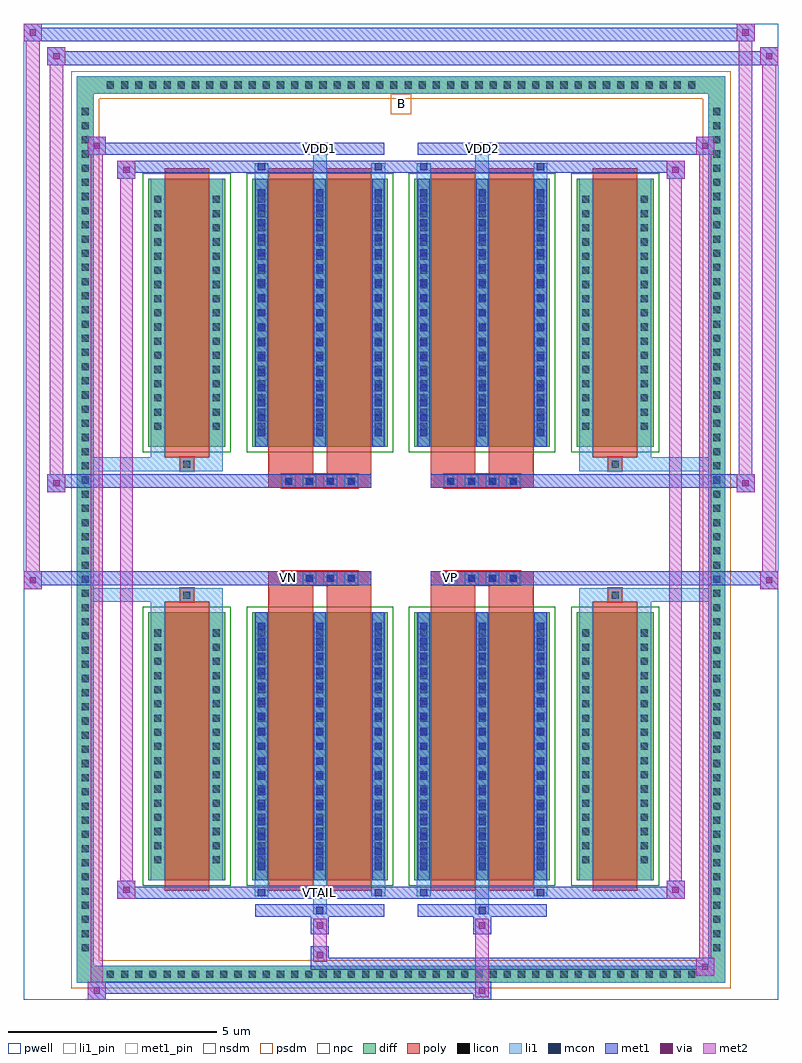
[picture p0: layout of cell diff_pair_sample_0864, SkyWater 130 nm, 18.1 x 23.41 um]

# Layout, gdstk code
import gdstk
lib = gdstk.Library(unit=1e-6, precision=5e-09)
def R(c, l, rs):  # rectangles x0, y0, x1, y1
    for r in rs: c.add(gdstk.rectangle(r[:2], r[2:], *l))
def A(c, l, x, y, w, h, nx, ny, dx, dy):  # array of equal rectangles
    R(c, l, [(x+i*dx, y+j*dy, x+i*dx+w, y+j*dy+h) for i in range(nx) for j in range(ny)])
def P(c, l, *ps):  # polygons
    for p in ps: c.add(gdstk.Polygon(p, *l))
pwell = (64, 44)
diff = (65, 20)
poly = (66, 20)
licon = (66, 44)
li1_pin = (67, 16)
li1 = (67, 20)
mcon = (67, 44)
met1_pin = (68, 16)
met1 = (68, 20)
via = (68, 44)
met2 = (69, 20)
nsdm = (93, 44)
psdm = (94, 20)
npc = (95, 20)

diff_pair_sample_0864 = lib.new_cell('diff_pair_sample_0864')
R(diff_pair_sample_0864, pwell, [(-9.05,-11.27,9.05,12.14), (-6.37,-9.46,-0.01,-0.8), (0.01,-9.46,6.37,-0.8), (-6.37,0.8,-0.01,9.46), (0.01,0.8,6.37,9.46)])
A(diff_pair_sample_0864, diff, -7.175, -10.87, 0.41, 0.41, 42, 2, 0.34, 21.33)
A(diff_pair_sample_0864, diff, -7.78, -10.235, 0.41, 0.41, 1, 60, 0, 0.34)
A(diff_pair_sample_0864, diff, 7.37, -10.235, 0.41, 0.41, 1, 60, 0, 0.34)
R(diff_pair_sample_0864, diff, [(-7.175,-10.87,7.175,-10.46), (-7.78,-10.235,-7.37,10.235), (7.37,-10.235,7.78,10.235), (-6.06,-8.415,-4.21,-1.985), (-3.57,-8.415,-0.32,-1.985), (0.32,-8.415,3.57,-1.985), (4.21,-8.415,6.06,-1.985), (-6.06,1.985,-4.21,8.415), (-3.57,1.985,-0.32,8.415), (0.32,1.985,3.57,8.415), (4.21,1.985,6.06,8.415), (-7.175,10.46,7.175,10.87)])
P(diff_pair_sample_0864, diff, [(7.78,10.87),(-7.78,10.87),(-7.78,-10.46),(-7.37,-10.46),(-7.37,10.46),(7.37,10.46),(7.37,-10.46),(-7.37,-10.46),(-7.78,-10.46),(-7.78,-10.87),(7.78,-10.87)])
A(diff_pair_sample_0864, poly, -2.86, -1.33, 0.33, 0.33, 4, 2, 0.5, 2.33)
A(diff_pair_sample_0864, poly, 1.03, -1.33, 0.33, 0.33, 4, 2, 0.5, 2.33)
R(diff_pair_sample_0864, poly, [(-5.67,-8.665,-4.6,-1.735), (-3.18,-8.665,-2.11,-1.735), (-1.78,-8.665,-0.71,-1.735), (0.71,-8.665,1.78,-1.735), (2.11,-8.665,3.18,-1.735), (4.6,-8.665,5.67,-1.735), (-5.3,-1.735,-4.97,-1.405), (-5.3,-1.735,-4.97,-1.405), (-3.18,-1.735,-2.11,-1.33), (-1.78,-1.735,-0.71,-1.33), (0.71,-1.735,1.78,-1.33), (2.11,-1.735,3.18,-1.33), (4.97,-1.735,5.3,-1.405), (4.97,-1.735,5.3,-1.405), (-3.18,-1.33,-0.71,-1), (0.71,-1.33,3.18,-1), (-3.18,1,-0.71,1.33), (0.71,1,3.18,1.33), (-3.18,1.33,-2.11,1.735), (-1.78,1.33,-0.71,1.735), (0.71,1.33,1.78,1.735), (2.11,1.33,3.18,1.735), (-5.3,1.405,-4.97,1.735), (-5.3,1.405,-4.97,1.735), (4.97,1.405,5.3,1.735), (4.97,1.405,5.3,1.735), (-5.67,1.735,-4.6,8.665), (-3.18,1.735,-2.11,8.665), (-1.78,1.735,-0.71,8.665), (0.71,1.735,1.78,8.665), (2.11,1.735,3.18,8.665), (4.6,1.735,5.67,8.665)])
A(diff_pair_sample_0864, licon, -7.055, -10.75, 0.17, 0.17, 42, 2, 0.34, 21.33)
A(diff_pair_sample_0864, licon, -7.66, -10.115, 0.17, 0.17, 1, 60, 0, 0.34)
A(diff_pair_sample_0864, licon, 7.49, -10.115, 0.17, 0.17, 1, 60, 0, 0.34)
A(diff_pair_sample_0864, licon, -5.92, -8.005, 0.17, 0.17, 1, 17, 0, 0.34)
A(diff_pair_sample_0864, licon, -4.52, -8.005, 0.17, 0.17, 1, 17, 0, 0.34)
A(diff_pair_sample_0864, licon, -3.43, -8.005, 0.17, 0.17, 3, 17, 1.4, 0.34)
A(diff_pair_sample_0864, licon, 0.46, -8.005, 0.17, 0.17, 3, 17, 1.4, 0.34)
A(diff_pair_sample_0864, licon, 4.35, -8.005, 0.17, 0.17, 1, 17, 0, 0.34)
A(diff_pair_sample_0864, licon, 5.75, -8.005, 0.17, 0.17, 1, 17, 0, 0.34)
A(diff_pair_sample_0864, licon, -2.78, -1.25, 0.17, 0.17, 4, 2, 0.5, 2.33)
A(diff_pair_sample_0864, licon, 1.11, -1.25, 0.17, 0.17, 4, 2, 0.5, 2.33)
A(diff_pair_sample_0864, licon, -5.92, 2.395, 0.17, 0.17, 1, 17, 0, 0.34)
A(diff_pair_sample_0864, licon, -4.52, 2.395, 0.17, 0.17, 1, 17, 0, 0.34)
A(diff_pair_sample_0864, licon, -3.43, 2.395, 0.17, 0.17, 3, 17, 1.4, 0.34)
A(diff_pair_sample_0864, licon, 0.46, 2.395, 0.17, 0.17, 3, 17, 1.4, 0.34)
A(diff_pair_sample_0864, licon, 4.35, 2.395, 0.17, 0.17, 1, 17, 0, 0.34)
A(diff_pair_sample_0864, licon, 5.75, 2.395, 0.17, 0.17, 1, 17, 0, 0.34)
R(diff_pair_sample_0864, licon, [(-5.22,-1.655,-5.05,-1.485), (5.05,-1.655,5.22,-1.485), (-5.22,1.485,-5.05,1.655), (5.05,1.485,5.22,1.655)])
R(diff_pair_sample_0864, li1_pin, [(-0.25,9.96,0.25,10.46)])
A(diff_pair_sample_0864, li1, -7.135, -10.83, 0.33, 0.33, 42, 2, 0.34, 21.33)
A(diff_pair_sample_0864, li1, -7.74, -10.195, 0.33, 0.33, 1, 60, 0, 0.34)
A(diff_pair_sample_0864, li1, 7.41, -10.195, 0.33, 0.33, 1, 60, 0, 0.34)
A(diff_pair_sample_0864, li1, -3.51, -8.415, 0.33, 6.43, 3, 2, 1.4, 10.4)
A(diff_pair_sample_0864, li1, 0.38, -8.415, 0.33, 6.43, 3, 2, 1.4, 10.4)
A(diff_pair_sample_0864, li1, -3.43, -8.165, 0.17, 0.17, 3, 17, 1.4, 0.36)
A(diff_pair_sample_0864, li1, -3.43, -8.165, 0.17, 5.93, 3, 2, 1.4, 10.4)
A(diff_pair_sample_0864, li1, 0.46, -8.165, 0.17, 0.17, 3, 17, 1.4, 0.36)
A(diff_pair_sample_0864, li1, 0.46, -8.165, 0.17, 5.93, 3, 2, 1.4, 10.4)
A(diff_pair_sample_0864, li1, -6, -8.085, 0.33, 0.33, 1, 17, 0, 0.34)
A(diff_pair_sample_0864, li1, -4.6, -8.085, 0.33, 0.33, 1, 17, 0, 0.34)
A(diff_pair_sample_0864, li1, -3.51, -8.085, 0.33, 0.33, 3, 17, 1.4, 0.34)
A(diff_pair_sample_0864, li1, 0.38, -8.085, 0.33, 0.33, 3, 17, 1.4, 0.34)
A(diff_pair_sample_0864, li1, 4.27, -8.085, 0.33, 0.33, 1, 17, 0, 0.34)
A(diff_pair_sample_0864, li1, 5.67, -8.085, 0.33, 0.33, 1, 17, 0, 0.34)
A(diff_pair_sample_0864, li1, -2.86, -1.33, 0.33, 0.33, 4, 2, 0.5, 2.33)
A(diff_pair_sample_0864, li1, 1.03, -1.33, 0.33, 0.33, 4, 2, 0.5, 2.33)
A(diff_pair_sample_0864, li1, -3.43, 2.235, 0.17, 0.17, 3, 17, 1.4, 0.36)
A(diff_pair_sample_0864, li1, 0.46, 2.235, 0.17, 0.17, 3, 17, 1.4, 0.36)
A(diff_pair_sample_0864, li1, -6, 2.315, 0.33, 0.33, 1, 17, 0, 0.34)
A(diff_pair_sample_0864, li1, -4.6, 2.315, 0.33, 0.33, 1, 17, 0, 0.34)
A(diff_pair_sample_0864, li1, -3.51, 2.315, 0.33, 0.33, 3, 17, 1.4, 0.34)
A(diff_pair_sample_0864, li1, 0.38, 2.315, 0.33, 0.33, 3, 17, 1.4, 0.34)
A(diff_pair_sample_0864, li1, 4.27, 2.315, 0.33, 0.33, 1, 17, 0, 0.34)
A(diff_pair_sample_0864, li1, 5.67, 2.315, 0.33, 0.33, 1, 17, 0, 0.34)
R(diff_pair_sample_0864, li1, [(-7.78,-10.87,-7.37,-10.46), (-7.78,-10.87,-7.37,-10.46), (-7.37,-10.87,7.37,-10.46), (7.37,-10.87,7.78,-10.46), (7.37,-10.87,7.78,-10.46), (-7.78,-10.46,-7.37,10.46), (7.37,-10.46,7.78,10.46), (-2.11,-9.22,-1.78,-8.415), (-2.03,-9.22,-1.86,-9.05), (1.78,-9.22,2.11,-8.415), (1.86,-9.22,2.03,-9.05), (-3.51,-8.79,-3.18,-8.415), (-3.43,-8.79,-3.26,-8.62), (-0.71,-8.79,-0.38,-8.415), (-0.63,-8.79,-0.46,-8.62), (0.38,-8.79,0.71,-8.415), (0.46,-8.79,0.63,-8.62), (3.18,-8.79,3.51,-8.415), (3.26,-8.79,3.43,-8.62), (-6,-8.415,-5.67,-1.985), (-4.6,-8.415,-4.27,-1.985), (4.27,-8.415,4.6,-1.985), (5.67,-8.415,6,-1.985), (-6,-1.985,-5.67,-1.405), (-4.6,-1.985,-4.27,-1.405), (4.27,-1.985,4.6,-1.405), (5.67,-1.985,6,-1.405), (-7.78,-1.735,-5.3,-1.405), (-6,-1.735,-5.3,-1.405), (-5.3,-1.735,-4.97,-1.405), (-4.97,-1.735,-4.27,-1.405), (4.27,-1.735,4.97,-1.405), (4.97,-1.735,5.3,-1.405), (4.97,-1.735,7.78,-1.405), (5.3,-1.735,6,-1.405), (-7.78,1.405,-5.3,1.735), (-6,1.405,-5.3,1.735), (-6,1.405,-5.67,1.985), (-5.3,1.405,-4.97,1.735), (-4.97,1.405,-4.27,1.735), (-4.6,1.405,-4.27,1.985), (4.27,1.405,4.97,1.735), (4.27,1.405,4.6,1.985), (4.97,1.405,5.3,1.735), (4.97,1.405,7.78,1.735), (5.3,1.405,6,1.735), (5.67,1.405,6,1.985), (-6,1.985,-5.67,8.415), (-4.6,1.985,-4.27,8.415), (4.27,1.985,4.6,8.415), (5.67,1.985,6,8.415), (-3.51,8.415,-3.18,8.79), (-2.11,8.415,-1.78,9.22), (-0.71,8.415,-0.38,8.79), (0.38,8.415,0.71,8.79), (1.78,8.415,2.11,9.22), (3.18,8.415,3.51,8.79), (-3.43,8.62,-3.26,8.79), (-0.63,8.62,-0.46,8.79), (0.46,8.62,0.63,8.79), (3.26,8.62,3.43,8.79), (-2.03,9.05,-1.86,9.22), (1.86,9.05,2.03,9.22), (-7.78,10.46,-7.37,10.87), (-7.78,10.46,-7.37,10.87), (-7.37,10.46,7.37,10.87), (7.37,10.46,7.78,10.87), (7.37,10.46,7.78,10.87)])
A(diff_pair_sample_0864, mcon, -3.43, -8.165, 0.17, 0.17, 3, 17, 1.4, 0.36)
A(diff_pair_sample_0864, mcon, 0.46, -8.165, 0.17, 0.17, 3, 17, 1.4, 0.36)
A(diff_pair_sample_0864, mcon, -2.78, -1.25, 0.17, 0.17, 4, 2, 0.5, 2.33)
A(diff_pair_sample_0864, mcon, 1.11, -1.25, 0.17, 0.17, 4, 2, 0.5, 2.33)
A(diff_pair_sample_0864, mcon, -3.43, 2.235, 0.17, 0.17, 3, 17, 1.4, 0.36)
A(diff_pair_sample_0864, mcon, 0.46, 2.235, 0.17, 0.17, 3, 17, 1.4, 0.36)
R(diff_pair_sample_0864, mcon, [(-2.03,-9.22,-1.86,-9.05), (1.86,-9.22,2.03,-9.05), (-3.43,-8.79,-3.26,-8.62), (-0.63,-8.79,-0.46,-8.62), (0.46,-8.79,0.63,-8.62), (3.26,-8.79,3.43,-8.62), (-3.43,8.62,-3.26,8.79), (-0.63,8.62,-0.46,8.79), (0.46,8.62,0.63,8.79), (3.26,8.62,3.43,8.79), (-2.03,9.05,-1.86,9.22), (1.86,9.05,2.03,9.22)])
R(diff_pair_sample_0864, met1_pin, [(-2.08,-8.83,-1.81,-8.56), (-2.83,-1.29,-2.56,-1.02), (1.06,-1.29,1.33,-1.02), (-2.08,9.01,-1.81,9.28), (1.81,9.01,2.08,9.28)])
A(diff_pair_sample_0864, met1, -3.49, -8.415, 0.29, 6.43, 3, 2, 1.4, 10.4)
A(diff_pair_sample_0864, met1, 0.4, -8.415, 0.29, 6.43, 3, 2, 1.4, 10.4)
A(diff_pair_sample_0864, met1, -3.49, -8.225, 0.29, 0.29, 3, 17, 1.4, 0.36)
A(diff_pair_sample_0864, met1, 0.4, -8.225, 0.29, 0.29, 3, 17, 1.4, 0.36)
A(diff_pair_sample_0864, met1, -2.84, -1.31, 0.29, 0.29, 4, 2, 0.5, 2.33)
A(diff_pair_sample_0864, met1, 1.05, -1.31, 0.29, 0.29, 4, 2, 0.5, 2.33)
A(diff_pair_sample_0864, met1, -3.49, 2.175, 0.29, 0.29, 3, 17, 1.4, 0.36)
A(diff_pair_sample_0864, met1, 0.4, 2.175, 0.29, 0.29, 3, 17, 1.4, 0.36)
R(diff_pair_sample_0864, met1, [(-7.51,-11.27,-7.08,-10.84), (1.73,-11.27,2.16,-10.84), (-7.51,-11.13,2.16,-10.84), (7.08,-10.7,7.51,-10.27), (-2.16,-10.56,7.51,-10.27), (-2.16,-10.42,-1.73,-9.99), (-2.16,-9.71,-1.73,-9.28), (1.73,-9.71,2.16,-9.28), (-3.49,-9.28,-0.4,-8.99), (-2.09,-9.28,-1.8,-8.99), (0.4,-9.28,3.49,-8.99), (1.8,-9.28,2.09,-8.99), (-6.8,-8.85,-6.37,-8.42), (-6.8,-8.85,-3.49,-8.56), (-3.49,-8.85,-3.2,-8.56), (-3.49,-8.85,-0.4,-8.56), (-0.69,-8.85,-0.4,-8.56), (-0.4,-8.85,0.4,-8.56), (0.4,-8.85,0.69,-8.56), (0.4,-8.85,3.49,-8.56), (3.2,-8.85,3.49,-8.56), (3.49,-8.85,6.8,-8.56), (6.37,-8.85,6.8,-8.42), (-9.05,-1.43,-8.62,-1), (8.62,-1.43,9.05,-1), (-9.05,-1.33,-0.71,-1), (-3.18,-1.33,-0.71,-1), (0.71,-1.33,3.18,-1), (0.71,-1.33,9.05,-1), (-8.48,0.9,-8.05,1.33), (8.05,0.9,8.48,1.33), (-8.48,1,-3.18,1.33), (-3.18,1,-0.71,1.33), (0.71,1,3.18,1.33), (3.18,1,8.48,1.33), (-6.8,8.42,-6.37,8.85), (6.37,8.42,6.8,8.85), (-6.8,8.56,-3.49,8.85), (-3.49,8.56,-3.2,8.85), (-3.49,8.56,-0.4,8.85), (-0.69,8.56,-0.4,8.85), (-0.4,8.56,0.4,8.85), (0.4,8.56,0.69,8.85), (0.4,8.56,3.49,8.85), (3.2,8.56,3.49,8.85), (3.49,8.56,6.8,8.85), (-7.51,8.99,-7.08,9.42), (-7.51,8.99,-3.49,9.28), (-3.49,8.99,-0.4,9.28), (-2.09,8.99,-1.8,9.28), (0.4,8.99,3.49,9.28), (1.8,8.99,2.09,9.28), (3.49,8.99,7.51,9.28), (7.08,8.99,7.51,9.42), (-8.48,11.14,-8.05,11.57), (-8.48,11.14,-6.37,11.47), (-6.37,11.14,6.37,11.47), (6.37,11.14,9.05,11.47), (8.62,11.14,9.05,11.57), (-9.05,11.71,-8.62,12.14), (-9.05,11.71,-6.37,12.04), (-6.37,11.71,6.37,12.04), (6.37,11.71,8.48,12.04), (8.05,11.71,8.48,12.14)])
R(diff_pair_sample_0864, via, [(-7.37,-11.13,-7.22,-10.98), (1.87,-11.13,2.02,-10.98), (7.22,-10.56,7.37,-10.41), (-2.02,-10.28,-1.87,-10.13), (-2.02,-9.57,-1.87,-9.42), (1.87,-9.57,2.02,-9.42), (-6.66,-8.71,-6.51,-8.56), (6.51,-8.71,6.66,-8.56), (-8.91,-1.29,-8.76,-1.14), (8.76,-1.29,8.91,-1.14), (-8.34,1.04,-8.19,1.19), (8.19,1.04,8.34,1.19), (-6.66,8.56,-6.51,8.71), (6.51,8.56,6.66,8.71), (-7.37,9.13,-7.22,9.28), (7.22,9.13,7.37,9.28), (-8.34,11.28,-8.19,11.43), (8.76,11.28,8.91,11.43), (-8.91,11.85,-8.76,12), (8.19,11.85,8.34,12)])
R(diff_pair_sample_0864, met2, [(-7.51,-11.27,-7.08,-10.84), (-7.44,-11.27,-7.15,9.42), (-7.15,-11.27,-7.08,-10.84), (-7.46,-11.22,-7.13,-10.89), (1.78,-11.22,2.11,-10.89), (1.78,-10.89,2.11,-9.66), (7.08,-10.7,7.51,-10.27), (7.15,-10.7,7.44,9.42), (7.44,-10.7,7.51,-10.27), (7.13,-10.65,7.46,-10.32), (-2.11,-10.37,-1.78,-10.04), (-2.11,-10.04,-1.78,-9.66), (-2.11,-9.66,-1.78,-9.33), (1.78,-9.66,2.11,-9.33), (-6.8,-8.85,-6.37,-8.42), (-6.73,-8.85,-6.44,8.85), (-6.44,-8.85,-6.37,-8.42), (6.37,-8.85,6.8,-8.42), (6.44,-8.85,6.73,8.85), (6.73,-8.85,6.8,-8.42), (-6.75,-8.8,-6.42,-8.47), (6.42,-8.8,6.75,-8.47), (-9.05,-1.43,-8.62,-1), (-9,-1.43,-8.67,12.14), (-8.67,-1.43,-8.62,-1), (8.62,-1.43,9.05,-1), (8.67,-1.43,9,11.57), (9,-1.43,9.05,-1), (-9,-1.38,-8.67,-1.05), (8.67,-1.38,9,-1.05), (-8.48,0.9,-8.05,1.33), (-8.43,0.9,-8.1,11.57), (-8.1,0.9,-8.05,1.33), (8.05,0.9,8.48,1.33), (8.1,0.9,8.43,12.14), (8.43,0.9,8.48,1.33), (-8.43,0.95,-8.1,1.28), (8.1,0.95,8.43,1.28), (-6.8,8.42,-6.37,8.85), (-6.44,8.42,-6.37,8.85), (6.37,8.42,6.8,8.85), (6.73,8.42,6.8,8.85), (-6.75,8.47,-6.42,8.8), (6.42,8.47,6.75,8.8), (-7.51,8.99,-7.08,9.42), (-7.15,8.99,-7.08,9.42), (7.08,8.99,7.51,9.42), (7.44,8.99,7.51,9.42), (-7.46,9.04,-7.13,9.37), (7.13,9.04,7.46,9.37), (-8.48,11.14,-8.05,11.57), (-8.1,11.14,-8.05,11.57), (8.62,11.14,9.05,11.57), (9,11.14,9.05,11.57), (-8.43,11.19,-8.1,11.52), (8.67,11.19,9,11.52), (-9.05,11.71,-8.62,12.14), (-8.67,11.71,-8.62,12.14), (8.05,11.71,8.48,12.14), (8.43,11.71,8.48,12.14), (-9,11.76,-8.67,12.09), (8.1,11.76,8.43,12.09)])
R(diff_pair_sample_0864, nsdm, [(-6.19,-8.545,-4.08,-1.855), (-3.7,-8.545,-0.19,-1.855), (0.19,-8.545,3.7,-1.855), (4.08,-8.545,6.19,-1.855), (-6.19,1.855,-4.08,8.545), (-3.7,1.855,-0.19,8.545), (0.19,1.855,3.7,8.545), (4.08,1.855,6.19,8.545)])
P(diff_pair_sample_0864, psdm, [(7.91,11),(-7.91,11),(-7.91,-10.33),(-7.24,-10.33),(-7.24,10.33),(7.24,10.33),(7.24,-10.33),(-7.24,-10.33),(-7.91,-10.33),(-7.91,-11),(7.91,-11)])
A(diff_pair_sample_0864, npc, -2.88, -1.35, 0.37, 0.37, 4, 2, 0.5, 2.33)
A(diff_pair_sample_0864, npc, 1.01, -1.35, 0.37, 0.37, 4, 2, 0.5, 2.33)
R(diff_pair_sample_0864, npc, [(-5.32,-1.755,-4.95,-1.385), (4.95,-1.755,5.32,-1.385), (-2.88,-1.35,-2.01,-0.98), (-2.88,-1.35,-2.01,-0.98), (-2.38,-1.35,-1.51,-0.98), (-2.38,-1.35,-1.51,-0.98), (-1.88,-1.35,-1.01,-0.98), (-1.88,-1.35,-1.01,-0.98), (1.01,-1.35,1.88,-0.98), (1.01,-1.35,1.88,-0.98), (1.51,-1.35,2.38,-0.98), (1.51,-1.35,2.38,-0.98), (2.01,-1.35,2.88,-0.98), (2.01,-1.35,2.88,-0.98), (-2.88,0.98,-2.01,1.35), (-2.88,0.98,-2.01,1.35), (-2.38,0.98,-1.51,1.35), (-2.38,0.98,-1.51,1.35), (-1.88,0.98,-1.01,1.35), (-1.88,0.98,-1.01,1.35), (1.01,0.98,1.88,1.35), (1.01,0.98,1.88,1.35), (1.51,0.98,2.38,1.35), (1.51,0.98,2.38,1.35), (2.01,0.98,2.88,1.35), (2.01,0.98,2.88,1.35), (-5.32,1.385,-4.95,1.755), (4.95,1.385,5.32,1.755)])
diff_pair_sample_0864.add(gdstk.Label('VTAIL', (-1.945,-8.695), layer=68, texttype=5))
diff_pair_sample_0864.add(gdstk.Label('VN', (-2.695,-1.155), layer=68, texttype=5))
diff_pair_sample_0864.add(gdstk.Label('VP', (1.195,-1.155), layer=68, texttype=5))
diff_pair_sample_0864.add(gdstk.Label('B', (0,10.21), layer=67, texttype=5))
diff_pair_sample_0864.add(gdstk.Label('VDD2', (1.945,9.145), layer=68, texttype=5))
diff_pair_sample_0864.add(gdstk.Label('VDD1', (-1.945,9.145), layer=68, texttype=5))

lib.write_gds('diff_pair_sample_0864.gds')
